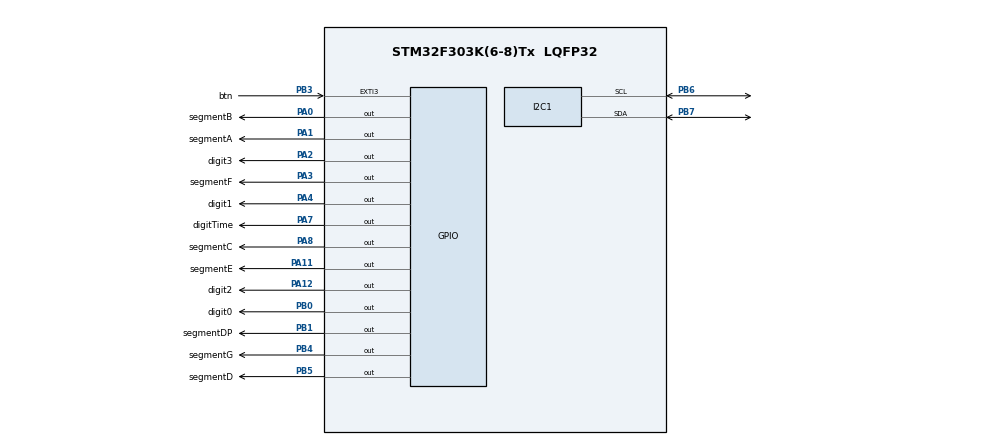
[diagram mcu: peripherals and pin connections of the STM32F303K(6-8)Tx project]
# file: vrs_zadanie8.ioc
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Mcu.Family=STM32F3
Mcu.Name=STM32F303K(6-8)Tx
Mcu.Package=LQFP32
NVIC.EXTI3_IRQn=true\:0\:0\:false\:false\:true\:true\:true
NVIC.I2C1_EV_IRQn=true\:0\:0\:false\:false\:true\:true\:true
NVIC.PriorityGroup=NVIC_PRIORITYGROUP_4
NVIC.TIM2_IRQn=true\:0\:0\:false\:false\:true\:true\:true
PA0.GPIO_Label=segmentB
PA0.Signal=GPIO_Output
PA1.GPIO_Label=segmentA
PA1.Signal=GPIO_Output
PA11.GPIO_Label=segmentE
PA11.Signal=GPIO_Output
PA12.GPIO_Label=digit2
PA12.Signal=GPIO_Output
PA2.GPIO_Label=digit3
PA2.Signal=GPIO_Output
PA3.GPIO_Label=segmentF
PA3.Signal=GPIO_Output
PA4.GPIO_Label=digit1
PA4.Signal=GPIO_Output
PA7.GPIO_Label=digitTime
PA7.Signal=GPIO_Output
PA8.GPIO_Label=segmentC
PA8.Signal=GPIO_Output
PB0.GPIO_Label=digit0
PB0.Signal=GPIO_Output
PB1.GPIO_Label=segmentDP
PB1.Signal=GPIO_Output
PB3.GPIO_Label=btn
PB3.GPIO_ModeDefaultEXTI=GPIO_MODE_IT_FALLING
PB3.GPIO_PuPd=GPIO_PULLUP
PB3.Signal=GPXTI3
PB4.GPIO_Label=segmentG
PB4.Signal=GPIO_Output
PB5.GPIO_Label=segmentD
PB5.Signal=GPIO_Output
PB6.GPIO_Pu=GPIO_PULLUP
PB6.Mode=I2C
PB6.Signal=I2C1_SCL
PB7.GPIO_Pu=GPIO_PULLUP
PB7.Mode=I2C
PB7.Signal=I2C1_SDA
ProjectManager.HeapSize=0x200
ProjectManager.StackSize=0x400
ProjectManager.TargetToolchain=STM32CubeIDE
RCC.AHBFreq_Value=8000000
RCC.APB1Freq_Value=8000000
RCC.APB2Freq_Value=8000000
RCC.CortexFreq_Value=8000000
RCC.HSE_VALUE=8000000
RCC.HSI_VALUE=8000000
RCC.SYSCLKFreq_VALUE=8000000
TIM2.Period=1000
TIM2.Prescaler=7
VP_TIM2_VS_ClockSourceINT.Mode=Internal
board=custom

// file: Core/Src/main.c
/* USER CODE BEGIN Header */
/**
  ******************************************************************************
  * @file           : main.c
  * @brief          : Main program body
  ******************************************************************************
  * @attention
  *
  * <h2><center>&copy; Copyright (c) 2021 STMicroelectronics.
  * All rights reserved.</center></h2>
  *
  * This software component is licensed by ST under BSD 3-Clause license,
  * the "License"; You may not use this file except in compliance with the
  * License. You may obtain a copy of the License at:
  *                        opensource.org/licenses/BSD-3-Clause
  *
  ******************************************************************************
  */
/* USER CODE END Header */
#include "main.h"
#include "i2c.h"
#include "tim.h"
#include "gpio.h"

/* USER CODE BEGIN Includes */
#include "string.h"
#include "HTS221.h"
#include "LPS25HB.h"
#include "stdio.h"
/* USER CODE END Includes */

/* USER CODE BEGIN PV */
uint8_t switch_state = 0;
uint8_t mode = 0;
uint8_t length_retazec = 0;
int tim2count = 0;
int x1=0;
int x2=0;
volatile int dots_in_retazec = 0;

const unsigned char seven_seg_digits_decode_abcdefg[75]= {
/*  0     1     2     3     4     5     6     7     8     9     :     ;     */
    0x7E, 0x30, 0x6D, 0x79, 0x33, 0x5B, 0x5F, 0x70, 0x7F, 0x7B, 0x00, 0x00,
/*  <     =     >     ?     @     A     B     C     D     E     F     G     */
    0x00, 0x00, 0x00, 0x00, 0x00, 0x77, 0x1F, 0x4E, 0x3D, 0x4F, 0x47, 0x5E,
/*  H     I     J     K     L     M     N     O     P     Q     R     S     */
    0x37, 0x06, 0x3C, 0x57, 0x0E, 0x6A, 0x15, 0x1D, 0x67, 0x73, 0x05, 0x5B,
/*  T     U     V     W     X     Y     Z     [     \     ]     ^     _     */
    0x0F, 0x3E, 0x1C, 0x5C, 0x13, 0x3B, 0x6D, 0x00, 0x00, 0x00, 0x00, 0x08,
/*  `     a     b     c     d     e     f     g     h     i     j     k     */
    0x00, 0x77, 0x1F, 0x4E, 0x3D, 0x4F, 0x47, 0x5E, 0x37, 0x06, 0x3C, 0x57,
/*  l     m     n     o     p     q     r     s     t     u     v     w     */
    0x0E, 0x6A, 0x15, 0x1D, 0x67, 0x73, 0x05, 0x5B, 0x0F, 0x3E, 0x1C, 0x5C,
/*  x     y     z     */
    0x13, 0x3B, 0x6D
};

//const unsigned char retazec[]="Jakub_Miklus_98350";
//const unsigned char retazec[]="Lenka_Rabcanova_98364";
char retazec[20];
volatile int orientation=0; //0=left ; 1=right
volatile int digit=0;
volatile int textposition = 0;

/* USER CODE END PV */

void SystemClock_Config(void);
/* USER CODE BEGIN PFP */
int dotsInString(char retazec[], int length)
{
	int n = 0;
	for(int i = 0; i < length; i++)
	{
		if(retazec[i] == '.')
		{
			n++;
		}
	}
	return n;
}
/* USER CODE END PFP */

/* USER CODE BEGIN 0 */
void resetSegments(void)
{
	LL_GPIO_SetOutputPin(GPIOA, LL_GPIO_PIN_11);
	LL_GPIO_SetOutputPin(GPIOA, LL_GPIO_PIN_8);
	LL_GPIO_SetOutputPin(GPIOB, LL_GPIO_PIN_1);
	LL_GPIO_SetOutputPin(GPIOB, LL_GPIO_PIN_5);
	LL_GPIO_SetOutputPin(GPIOB, LL_GPIO_PIN_4);
	LL_GPIO_SetOutputPin(GPIOA, LL_GPIO_PIN_0);
	LL_GPIO_SetOutputPin(GPIOA, LL_GPIO_PIN_1);
	LL_GPIO_SetOutputPin(GPIOA, LL_GPIO_PIN_3);
}

/* Reset (turn-off) all digits*/
void resetDigits(void)
{

//	LL_GPIO_ResetOutputPin(GPIOA, LL_GPIO_PIN_2);
//	LL_GPIO_ResetOutputPin(GPIOA, LL_GPIO_PIN_5);
//	LL_GPIO_ResetOutputPin(GPIOA, LL_GPIO_PIN_4);
//	LL_GPIO_ResetOutputPin(GPIOA, LL_GPIO_PIN_6);
//	LL_GPIO_ResetOutputPin(GPIOA, LL_GPIO_PIN_7);

	LL_GPIO_ResetOutputPin(digit0_GPIO_Port, digit0_Pin);
	LL_GPIO_ResetOutputPin(digit1_GPIO_Port, digit1_Pin);
	LL_GPIO_ResetOutputPin(digit2_GPIO_Port, digit2_Pin);
	LL_GPIO_ResetOutputPin(digit3_GPIO_Port, digit3_Pin);
	LL_GPIO_ResetOutputPin(digitTime_GPIO_Port, digitTime_Pin);
}

unsigned char decode_7seg(unsigned char chr)
{ /* Implementation uses ASCII */
	if (chr == '.') {
		return (1<<7); //DP
	}
	if (chr == '-') {
		return (1<<0); //segment G
	}

    if (chr > (unsigned char)'z')
        return 0x00;
    return seven_seg_digits_decode_abcdefg[chr - '0'];
}

void display_symbol(char symbol,int digit)
{
	switch (digit)
	{
	    case 0:
                DIGIT_0_ON;
	      break;

	    case 1:
	    	DIGIT_1_ON;
	      break;

	    case 2:
	    	DIGIT_2_ON;
	      break;

	    case 3:
	    	DIGIT_3_ON;
	      break;
	}

	char pomocna=symbol;
	pomocna &= 1;

	if(pomocna==1)
		LL_GPIO_ResetOutputPin(segmentG_GPIO_Port, segmentG_Pin);

	pomocna=symbol;
	pomocna >>= 1;
	pomocna &= 1;

	if(pomocna==1)
		LL_GPIO_ResetOutputPin(segmentF_GPIO_Port, segmentF_Pin);

	pomocna=symbol;
	pomocna >>= 2;
	pomocna &= 1;

	if(pomocna==1)
		LL_GPIO_ResetOutputPin(segmentE_GPIO_Port, segmentE_Pin);

	pomocna=symbol;
	pomocna >>= 3;
	pomocna &= 1;

	if(pomocna==1)
		LL_GPIO_ResetOutputPin(segmentD_GPIO_Port, segmentD_Pin);

	pomocna=symbol;
	pomocna >>= 4;
	pomocna &= 1;

	if(pomocna==1)
		LL_GPIO_ResetOutputPin(segmentC_GPIO_Port, segmentC_Pin);

	pomocna=symbol;
	pomocna >>= 5;
	pomocna &= 1;

	if(pomocna==1)
		LL_GPIO_ResetOutputPin(segmentB_GPIO_Port, segmentB_Pin);

	pomocna=symbol;
	pomocna >>= 6;
	pomocna &= 1;

	if(pomocna==1)
		LL_GPIO_ResetOutputPin(segmentA_GPIO_Port, segmentA_Pin);

}

void display_dot()
{
    LL_GPIO_ResetOutputPin(segmentDP_GPIO_Port, segmentDP_Pin);
}

/* USER CODE END 0 */

int main(void)
{

  /* MCU Configuration--------------------------------------------------------*/

  /* Reset of all peripherals, Initializes the Flash interface and the Systick. */

  LL_APB2_GRP1_EnableClock(LL_APB2_GRP1_PERIPH_SYSCFG);
  LL_APB1_GRP1_EnableClock(LL_APB1_GRP1_PERIPH_PWR);

  NVIC_SetPriorityGrouping(NVIC_PRIORITYGROUP_4);

  /* System interrupt init*/
  /* SysTick_IRQn interrupt configuration */
  NVIC_SetPriority(SysTick_IRQn, NVIC_EncodePriority(NVIC_GetPriorityGrouping(),15, 0));

  /* USER CODE BEGIN Init */
  NVIC_SetPriorityGrouping(NVIC_PRIORITYGROUP_4);
  /* USER CODE END Init */

  /* Configure the system clock */
  SystemClock_Config();

  /* Initialize all configured peripherals */
  MX_GPIO_Init();
  MX_TIM2_Init();
  MX_I2C1_Init();
  /* USER CODE BEGIN 2 */
  LL_TIM_EnableCounter(TIM2);
  LL_TIM_EnableIT_UPDATE(TIM2);
  /* USER CODE END 2 */

  /* Infinite loop */
  /* USER CODE BEGIN WHILE */
  lps25hb_init();
  hts221_init();
  while (1)
  {
    /* USER CODE END WHILE */

    /* USER CODE BEGIN 3 */
	   if(mode==0){
		   float temperature = hts221_get_temperature();
		   if(temperature>=100) {
			   temperature = 99.9;
		   }
		   if(temperature<=-100) {
			   temperature = -99.9;
		   }
		   sprintf(retazec, "TEMP_%03.1f", temperature);
		   //strcpy(retazec, "TEMP_xx.x");
		   length_retazec = strlen(retazec);
		   dots_in_retazec = dotsInString(retazec, length_retazec);

	   }
	   if(mode==1){
		   float humidity = hts221_get_relative_humidity();
		   if(humidity>99) {
			   humidity = 99;
		   }
		   if(humidity<=0) {
		   	  humidity = 0;
		   }
		   sprintf(retazec, "HUM_%02.0f", humidity);
		   //strcpy(retazec, "HUM_xx");
		   length_retazec = strlen(retazec);
		   dots_in_retazec = dotsInString(retazec, length_retazec);

	   }
	   if(mode==2){
		   float final_pressure = lps25hb_get_pressure();
		   sprintf(retazec, "BAR_%06.2f", final_pressure);
		   //strcpy(retazec, "BAR_xxxx.xx");
		   length_retazec = strlen(retazec);
		   dots_in_retazec = dotsInString(retazec, length_retazec);

	   }
	   if(mode==3){
		   float final_pressure = lps25hb_get_pressure();
		   float alltitude = lps25hb_get_alltitude(final_pressure);
		   sprintf(retazec, "ALT_%05.1f", alltitude);
		   //strcpy(retazec, "ALT_xxxx.x");
		   length_retazec = strlen(retazec);
		   dots_in_retazec = dotsInString(retazec, length_retazec);
	   }
  }
  /* USER CODE END 3 */
}

void SystemClock_Config(void)
{
  LL_FLASH_SetLatency(LL_FLASH_LATENCY_0);
  while(LL_FLASH_GetLatency()!= LL_FLASH_LATENCY_0)
  {
  }
  LL_RCC_HSI_Enable();

   /* Wait till HSI is ready */
  while(LL_RCC_HSI_IsReady() != 1)
  {

  }
  LL_RCC_HSI_SetCalibTrimming(16);
  LL_RCC_SetAHBPrescaler(LL_RCC_SYSCLK_DIV_1);
  LL_RCC_SetAPB1Prescaler(LL_RCC_APB1_DIV_1);
  LL_RCC_SetAPB2Prescaler(LL_RCC_APB2_DIV_1);
  LL_RCC_SetSysClkSource(LL_RCC_SYS_CLKSOURCE_HSI);

   /* Wait till System clock is ready */
  while(LL_RCC_GetSysClkSource() != LL_RCC_SYS_CLKSOURCE_STATUS_HSI)
  {

  }
  LL_Init1msTick(8000000);
  LL_SetSystemCoreClock(8000000);
  LL_RCC_SetI2CClockSource(LL_RCC_I2C1_CLKSOURCE_HSI);
}

/* USER CODE BEGIN 4 */

uint8_t checkButtonState(GPIO_TypeDef* PORT, uint8_t PIN, uint8_t edge, uint8_t samples_window, uint8_t samples_required)
{
	  //type your code for "checkButtonState" implementation here:
	uint8_t button_state = 0, timeout = 0;

		while(button_state < samples_required && timeout < samples_window)
		{
			if((LL_GPIO_IsInputPinSet(PORT, PIN) && (edge==TRIGGER_RISE)) || (!LL_GPIO_IsInputPinSet(PORT, PIN) && (edge==TRIGGER_FALL)))/*LL_GPIO_IsInputPinSet(PORT, PIN)*/
			{
				button_state += 1;
			}
			else
			{
				button_state = 0;
			}

			timeout += 1;
			LL_mDelay(1);
		}

		if((button_state >= samples_required) && (timeout <= samples_window))
		{
			return 1;
		}
		else
		{
			return 0;
		}
}

void updateDisplay(void)
{
	resetDigits();
	resetSegments();
	char symbol = retazec[textposition+digit+x2];
        char aux;

        char segments = decode_7seg(symbol);

	display_symbol(segments, digit);

        if ((length_retazec-1)>textposition+digit)
             aux=retazec[textposition+digit+1];

	if (aux=='.'){
		display_dot();
                x2=1;
	}

	digit = digit+1;
	if(digit >= 4){
		digit=0;
		x2=0;
        }
}

//Update displayed data and keep display ON
void TIM2_IRQHandler(void)
{
	//1000 za s
	tim2count = tim2count + 1;
	if(tim2count >=500) {
		tim2count = 0; //2 krat za sekundu sa vykona tento if

		//Posun textu
		if (orientation==0){
			textposition = textposition + 1;
			if((textposition+4+x2+dots_in_retazec)>=(length_retazec))
			    orientation=1;
		}

		else{
			textposition = textposition - 1;
			if((textposition)<=0)
			    orientation=0;
		}

	}

	if(LL_TIM_IsActiveFlag_UPDATE(TIM2))
	{
		updateDisplay();
	}

	LL_TIM_ClearFlag_UPDATE(TIM2);

}

void EXTI3_IRQHandler(void)
{
	if(checkButtonState(GPIO_PORT_BUTTON,
						GPIO_PIN_BUTTON,
						BUTTON_EXTI_TRIGGER,
						BUTTON_EXTI_SAMPLES_WINDOW,
						BUTTON_EXTI_SAMPLES_REQUIRED))
	{
		//switch_state ^= 1;
		mode = mode+1;
		if (mode > 3) {
			mode = 0;
		}
		textposition = 0;
		orientation = 0;
	}

	/* Clear EXTI4 pending register flag */

		//type your code for pending register flag clear here:
	EXTI->PR |= (1 << 4);
}
/* USER CODE END 4 */

void Error_Handler(void)
{
  __disable_irq();
  while (1)
  {
  }
}

/************************ (C) COPYRIGHT STMicroelectronics *****END OF FILE****/
